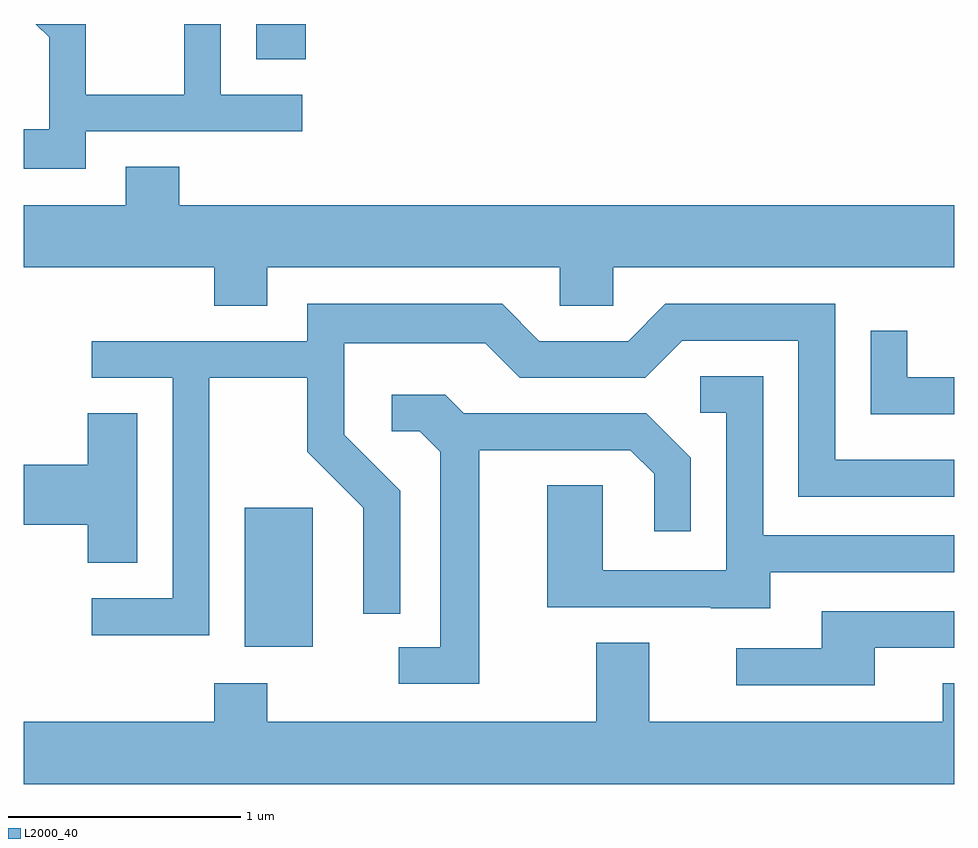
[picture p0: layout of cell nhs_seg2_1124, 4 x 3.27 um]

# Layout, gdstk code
import gdstk
lib = gdstk.Library(unit=1e-6, precision=1e-09)
def R(c, l, rs):  # rectangles x0, y0, x1, y1
    for r in rs: c.add(gdstk.rectangle(r[:2], r[2:], *l))
def P(c, l, *ps):  # polygons
    for p in ps: c.add(gdstk.Polygon(p, *l))
L2000_40 = (2000, 40)

nhs_seg2_1124 = lib.new_cell('nhs_seg2_1124')
R(nhs_seg2_1124, L2000_40, [(218.561,1051.126,218.854,1051.724), (218.611,1053.651,218.824,1053.802)])
P(nhs_seg2_1124, L2000_40, [(217.879,1053.341),(218.808,1053.341),(218.808,1053.499),(218.459,1053.499),(218.459,1053.802),(218.301,1053.802),(218.301,1053.499),(217.879,1053.499),(217.879,1053.802),(217.663,1053.802),(217.721,1053.744),(217.721,1053.349),(217.611,1053.349),(217.611,1053.181),(217.879,1053.181)],
  [(218.659,1052.756),(219.916,1052.756),(219.916,1052.591),(220.144,1052.591),(220.144,1052.756),(221.611,1052.756),(221.611,1053.024),(218.279,1053.024),(218.279,1053.189),(218.051,1053.189),(218.051,1053.024),(217.611,1053.024),(217.611,1052.756),(218.431,1052.756),(218.431,1052.591),(218.659,1052.591)],
  [(218.409,1052.281),(218.831,1052.281),(218.831,1051.964),(219.071,1051.724),(219.071,1051.268),(219.229,1051.268),(219.229,1051.797),(218.989,1052.037),(218.989,1052.431),(219.594,1052.431),(219.744,1052.281),(220.282,1052.281),(220.442,1052.441),(220.941,1052.441),(220.941,1051.771),(221.611,1051.771),(221.611,1051.929),(221.099,1051.929),(221.099,1052.599),(220.369,1052.599),(220.209,1052.439),(219.827,1052.439),(219.667,1052.599),(218.831,1052.599),(218.831,1052.439),(217.903,1052.439),(217.903,1052.281),(218.251,1052.281),(218.251,1051.334),(217.903,1051.334),(217.903,1051.176),(218.409,1051.176)],
  [(221.611,1052.284),(221.409,1052.284),(221.409,1052.483),(221.251,1052.483),(221.251,1052.126),(221.611,1052.126)],
  [(220.819,1051.446),(221.611,1051.446),(221.611,1051.604),(220.789,1051.604),(220.789,1052.289),(220.518,1052.289),(220.518,1052.131),(220.631,1052.131),(220.631,1051.454),(220.099,1051.454),(220.099,1051.819),(219.861,1051.819),(219.861,1051.296),(220.565,1051.296),(220.565,1051.291),(220.819,1051.291)],
  [(219.569,1051.971),(220.219,1051.971),(220.321,1051.869),(220.321,1051.623),(220.479,1051.623),(220.479,1051.937),(220.287,1052.129),(219.502,1052.129),(219.422,1052.209),(219.193,1052.209),(219.193,1052.051),(219.314,1052.051),(219.401,1051.964),(219.401,1051.124),(219.223,1051.124),(219.223,1050.966),(219.569,1050.966)],
  [(218.099,1052.129),(217.886,1052.129),(217.886,1051.909),(217.611,1051.909),(217.611,1051.651),(217.886,1051.651),(217.886,1051.486),(218.099,1051.486)],
  [(221.269,1051.121),(221.611,1051.121),(221.611,1051.279),(221.041,1051.279),(221.041,1051.119),(220.673,1051.119),(220.673,1050.961),(221.269,1050.961)],
  [(221.611,1050.969),(221.561,1050.969),(221.561,1050.804),(220.299,1050.804),(220.299,1051.144),(220.071,1051.144),(220.071,1050.804),(218.659,1050.804),(218.659,1050.969),(218.431,1050.969),(218.431,1050.804),(217.611,1050.804),(217.611,1050.536),(221.611,1050.536)])

lib.write_gds('nhs_seg2_1124.gds')
